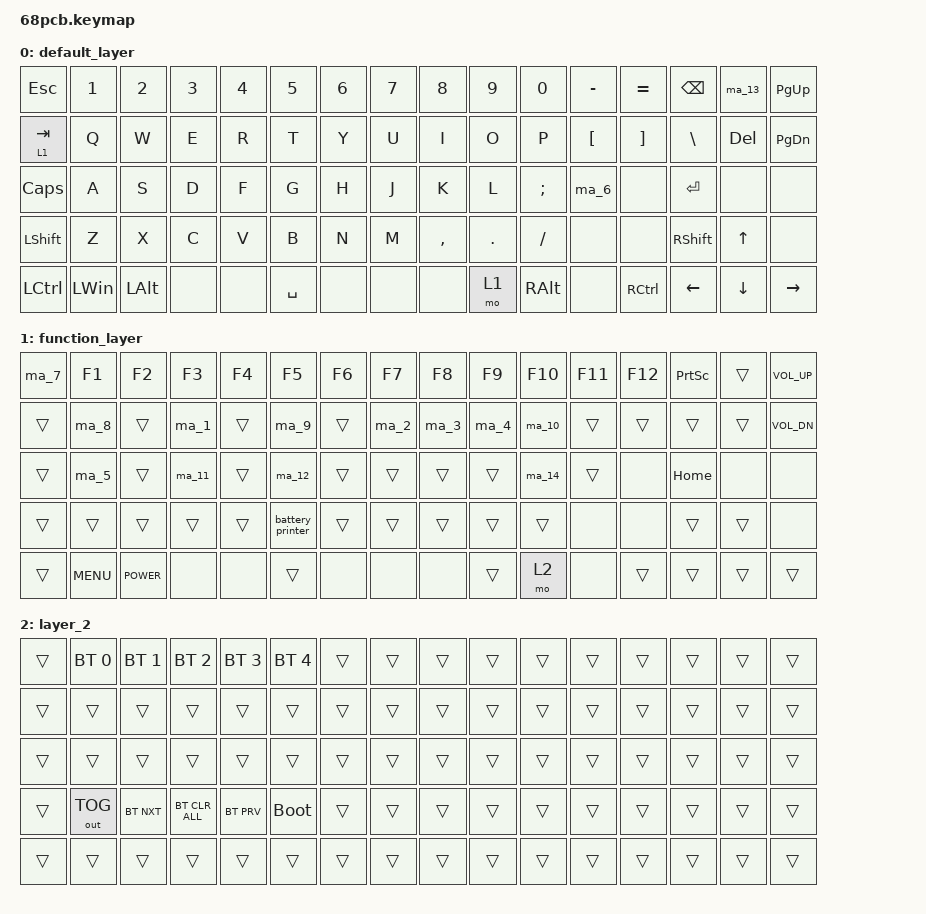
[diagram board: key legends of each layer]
/*
 * Copyright (c) 2020 The ZMK Contributors
 *
 * SPDX-License-Identifier: MIT
 */

#include <behaviors.dtsi>
#include <dt-bindings/zmk/bt.h>
#include <dt-bindings/zmk/keys.h>
#include <dt-bindings/zmk/outputs.h>

#define DEF 0
#define FUN 1

/ {
    macros {
        /* è: `E */

        ma_1: ma_1 {
            label = "ma_1";
            compatible = "zmk,behavior-macro";
            #binding-cells = <0>;
            bindings = <&macro_tap>, <&kp GRAVE>, <&macro_tap>, <&kp E>;
        };

        /* ù: `U */

        ma_2: ma_2 {
            label = "ma_2";
            compatible = "zmk,behavior-macro";
            #binding-cells = <0>;
            bindings = <&macro_tap>, <&kp GRAVE>, <&macro_tap>, <&kp U>;
        };

        /* ì: `I */

        ma_3: ma_3 {
            label = "ma_3";
            compatible = "zmk,behavior-macro";
            #binding-cells = <0>;
            bindings = <&macro_tap>, <&kp GRAVE>, <&macro_tap>, <&kp I>;
        };

        /* ò: `O */

        ma_4: ma_4 {
            label = "ma_4";
            compatible = "zmk,behavior-macro";
            #binding-cells = <0>;
            bindings = <&macro_tap>, <&kp GRAVE>, <&macro_tap>, <&kp O>;
        };

        /* à: `A */

        ma_5: ma_5 {
            label = "ma_5";
            compatible = "zmk,behavior-macro";
            #binding-cells = <0>;
            bindings = <&macro_tap>, <&kp GRAVE>, <&macro_tap>, <&kp A>;
        };

        /* ': '  */

        ma_6: ma_6 {
            label = "ma_6";
            compatible = "zmk,behavior-macro";
            #binding-cells = <0>;
            bindings = <&macro_tap>, <&kp SQT>, <&macro_tap>, <&kp SPACE>;
        };

        /* `:`  */

        ma_7: ma_7 {
            label = "ma_7";
            compatible = "zmk,behavior-macro";
            #binding-cells = <0>;
            bindings = <&macro_tap>, <&kp GRAVE>, <&macro_tap>, <&kp SPACE>;
        };

        /* ²: Alt253 */

        ma_8: ma_8 {
            label = "ma_8";
            compatible = "zmk,behavior-macro";
            #binding-cells = <0>;
            bindings =
                <&macro_press>,
                <&kp LALT>,
                <&macro_tap>,
                <&kp KP_N2>,
                <&macro_tap>,
                <&kp KP_N5>,
                <&macro_tap>,
                <&kp KP_N3>,
                <&macro_release>,
                <&kp LALT>;
        };

        /* ~: Alt126 */

        ma_9: ma_9 {
            label = "ma_9";
            compatible = "zmk,behavior-macro";
            #binding-cells = <0>;
            bindings =
                <&macro_press>,
                <&kp LALT>,
                <&macro_tap>,
                <&kp KP_N1>,
                <&macro_tap>,
                <&kp KP_N2>,
                <&macro_tap>,
                <&kp KP_N6>,
                <&macro_release>,
                <&kp LALT>;
        };

        /* ×: Alt0215 */

        ma_10: ma_10 {
            label = "ma_10";
            compatible = "zmk,behavior-macro";
            #binding-cells = <0>;
            bindings =
                <&macro_press>,
                <&kp LALT>,
                <&macro_tap>,
                <&kp KP_N0>,
                <&macro_tap>,
                <&kp KP_N2>,
                <&macro_tap>,
                <&kp KP_N1>,
                <&macro_tap>,
                <&kp KP_N5>,
                <&macro_release>,
                <&kp LALT>;
        };

        /* ÷: Alt0247 */

        ma_11: ma_11 {
            label = "ma_11";
            compatible = "zmk,behavior-macro";
            #binding-cells = <0>;
            bindings =
                <&macro_press>,
                <&kp LALT>,
                <&macro_tap>,
                <&kp KP_N0>,
                <&macro_tap>,
                <&kp KP_N2>,
                <&macro_tap>,
                <&kp KP_N4>,
                <&macro_tap>,
                <&kp KP_N7>,
                <&macro_release>,
                <&kp LALT>;
        };

        ma_12: ma_12 {
            compatible = "zmk,behavior-macro";
            #binding-cells = <0>;
            bindings =
                <&macro_press>,
                <&kp RIGHT_ALT>,
                <&macro_press>,
                <&kp RIGHT_SHIFT>,
                <&macro_tap>,
                <&kp SEMICOLON>,
                <&macro_release>,
                <&kp RIGHT_SHIFT>,
                <&macro_release>,
                <&kp RIGHT_ALT>;

            label = "MA_12";
        };

        ma_13: ma_13 {
            compatible = "zmk,behavior-macro";
            #binding-cells = <0>;
            bindings =
                <&macro_press>,
                <&kp LEFT_WIN>,
                <&macro_press>,
                <&kp LEFT_SHIFT>,
                <&macro_tap>,
                <&kp S>,
                <&macro_release>,
                <&kp LEFT_SHIFT>,
                <&macro_release>,
                <&kp LEFT_WIN>;

            label = "MA_13";
        };

        ma_14: ma_14 {
            compatible = "zmk,behavior-macro";
            #binding-cells = <0>;
            bindings =
                <&macro_press>,
                <&kp RIGHT_ALT>,
                <&macro_press>,
                <&kp RIGHT_SHIFT>,
                <&macro_tap>,
                <&kp SEMICOLON>,
                <&macro_release>,
                <&kp RIGHT_SHIFT>,
                <&macro_release>,
                <&kp RIGHT_ALT>;

            label = "MA_14";
        };
    };
};

/ {
    behaviors {
        ht: hold_tap {
            compatible = "zmk,behavior-hold-tap";
            label = "Hold Tap";
            #binding-cells = <2>;
            tapping-term-ms = <200>;
            flavor = "tap-preferred";
            bindings = <&kp>, <&kp>;
        };
		battery_printer: battery_printer {
			compatible = "zmk,behavior-battery-printer";
			label = "BATTERY_PRINTER";
			#binding-cells = <0>;
		};
    };

    keymap {
        compatible = "zmk,keymap";

        default_layer {
            bindings = <
&kp ESC           &kp NUMBER_1  &kp NUMBER_2  &kp NUMBER_3  &kp NUMBER_4  &kp NUMBER_5  &kp NUMBER_6  &kp NUMBER_7  &kp NUMBER_8  &kp NUMBER_9  &kp NUMBER_0   &kp MINUS         &kp EQUAL          &kp BACKSPACE   &ma_13          &kp PAGE_UP
&lt 1 TAB         &kp Q         &kp W         &kp E         &kp R         &kp T         &kp Y         &kp U         &kp I         &kp O         &kp P          &kp LEFT_BRACKET  &kp RIGHT_BRACKET  &kp BACKSLASH   &kp DEL         &kp PAGE_DOWN
&kp CAPSLOCK      &kp A         &kp S         &kp D         &kp F         &kp G         &kp H         &kp J         &kp K         &kp L         &kp SEMICOLON  &ma_6             &none              &kp ENTER       &none           &none
&kp LEFT_SHIFT    &kp Z         &kp X         &kp C         &kp V         &kp B         &kp N         &kp M         &kp COMMA     &kp PERIOD    &kp SLASH      &none             &none              &kp RSHIFT      &kp UP_ARROW    &none
&kp LEFT_CONTROL  &kp LEFT_WIN  &kp LEFT_ALT  &none         &none         &kp SPACE     &none         &none         &none         &mo 1         &kp RIGHT_ALT  &none             &kp RIGHT_CONTROL  &kp LEFT_ARROW  &kp DOWN_ARROW  &kp RIGHT_ARROW
            >;
        };

        function_layer {
            bindings = <
&ma_7   &kp F1      &kp F2       &kp F3  &kp F4  &kp F5  &kp F6  &kp F7  &kp F8  &kp F9  &kp F10  &kp F11  &kp F12  &kp PRINTSCREEN  &trans  &kp C_VOL_UP
&trans  &ma_8       &trans       &ma_1   &trans  &ma_9   &trans  &ma_2   &ma_3   &ma_4   &ma_10   &trans   &trans   &trans           &trans  &kp C_VOL_DN
&trans  &ma_5       &trans       &ma_11  &trans  &ma_12  &trans  &trans  &trans  &trans  &ma_14   &trans   &none    &kp HOME         &none   &none
&trans  &trans      &trans       &trans  &trans  &battery_printer  &trans  &trans  &trans  &trans  &trans   &none    &none    &trans           &trans  &none
&trans  &kp C_MENU  &kp K_POWER  &none   &none   &trans  &none   &none   &none   &trans  &mo 2    &none    &trans   &trans           &trans  &trans
            >;
        };

        layer_2 {
            bindings = <
&trans  &bt BT_SEL 0  &bt BT_SEL 1  &bt BT_SEL 2    &bt BT_SEL 3  &bt BT_SEL 4  &trans  &trans  &trans  &trans  &trans  &trans  &trans  &trans  &trans  &trans
&trans  &trans        &trans        &trans          &trans        &trans        &trans  &trans  &trans  &trans  &trans  &trans  &trans  &trans  &trans  &trans
&trans  &trans        &trans        &trans          &trans        &trans        &trans  &trans  &trans  &trans  &trans  &trans  &trans  &trans  &trans  &trans
&trans  &out OUT_TOG  &bt BT_NXT    &bt BT_CLR_ALL  &bt BT_PRV    &bootloader   &trans  &trans  &trans  &trans  &trans  &trans  &trans  &trans  &trans  &trans
&trans  &trans        &trans        &trans          &trans        &trans        &trans  &trans  &trans  &trans  &trans  &trans  &trans  &trans  &trans  &trans
            >;
        };
    };
};
